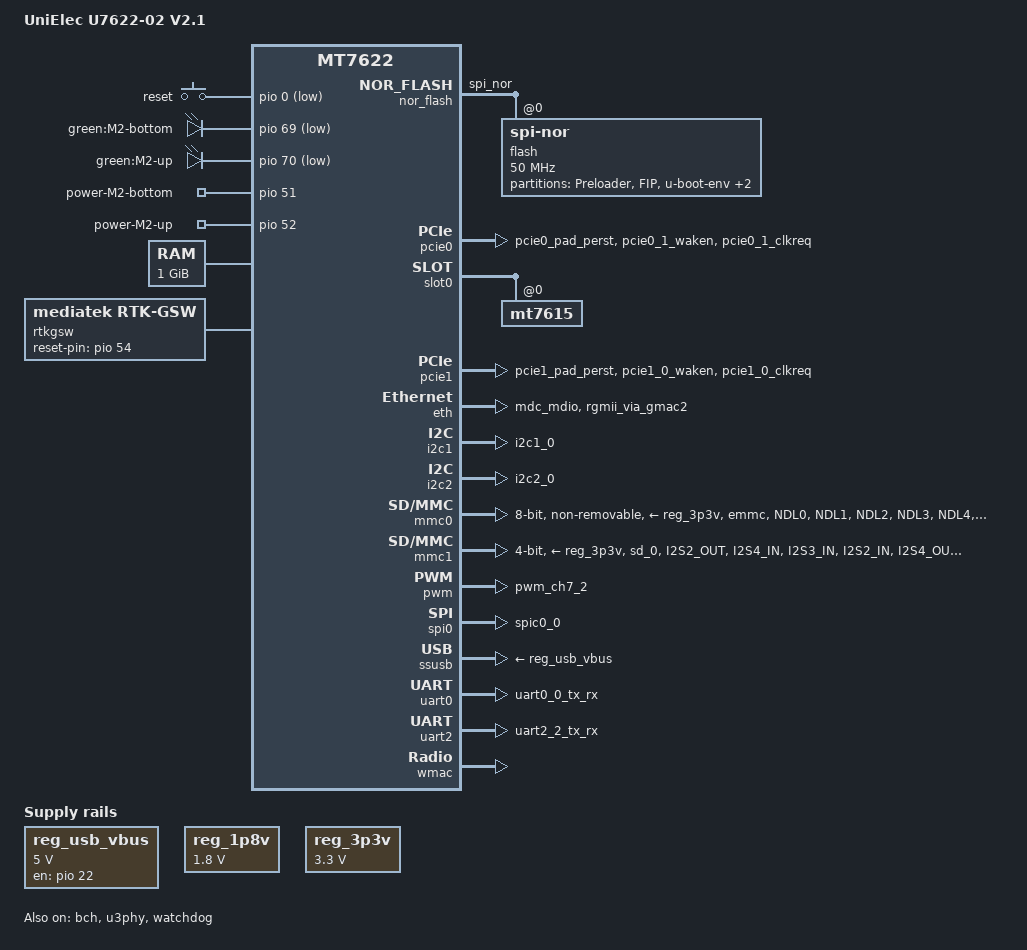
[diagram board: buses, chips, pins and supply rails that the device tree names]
// SPDX-License-Identifier: (GPL-2.0-only OR MIT)
/*
 * Copyright (c) 2017 MediaTek Inc.
 * Author: Ming Huang <ming.huang@mediatek.com>
 *	   Sean Wang <sean.wang@mediatek.com>
 */

/dts-v1/;
#include <dt-bindings/input/input.h>
#include <dt-bindings/gpio/gpio.h>

#include "mt7622.dtsi"
#include "mt6380.dtsi"


/ {
	model = "UniElec U7622-02 V2.1";
	compatible = "unielec,u7622-02", "mediatek,mt7622";

	aliases {
		serial0 = &uart0;
	};

	chosen {
		stdout-path = "serial0:115200n8";
		bootargs = "earlycon=uart8250,mmio32,0x11002000 swiotlb=512 console=ttyS0,115200n8";
	};

	cpus {
		cpu@0 {
			proc-supply = <&mt6380_vcpu_reg>;
			sram-supply = <&mt6380_vm_reg>;
		};

		cpu@1 {
			proc-supply = <&mt6380_vcpu_reg>;
			sram-supply = <&mt6380_vm_reg>;
		};
	};

	gpio-keys {
		compatible = "gpio-keys";

		reset {
			label = "reset";
			linux,code = <KEY_RESTART>;
			gpios = <&pio 0 GPIO_ACTIVE_LOW>;
		};
	};

	leds {
		compatible = "gpio-leds";

		M2-bottom {
			label = "green:M2-bottom";
			gpios = <&pio 69 GPIO_ACTIVE_LOW>;
		};

		M2-up {
			label = "green:M2-up";
			gpios = <&pio 70 GPIO_ACTIVE_LOW>;
		};
	};

	gpio-export {
		compatible = "gpio-export";
		
		power-M2-bottom {
			gpio-export,name = "power-M2-bottom";
			gpio-export,output = <0>;
			gpios = <&pio 51 GPIO_ACTIVE_HIGH>;
		};

		power-M2-up {
			gpio-export,name = "power-M2-up";
			gpio-export,output = <1>; /* always power up for PCIE1 */
			gpios = <&pio 52 GPIO_ACTIVE_HIGH>;
		};
	};

	reg_usb_vbus: regulator {
		compatible = "regulator-fixed";
		regulator-name = "usb_vbus";
		regulator-min-microvolt = <5000000>;
		regulator-max-microvolt = <5000000>;
		gpio = <&pio 22 GPIO_ACTIVE_LOW>;
		enable-active-high;
	};

	memory {
		reg = <0 0x40000000 0 0x40000000>;
	};

	reg_1p8v: regulator-1p8v {
		compatible = "regulator-fixed";
		regulator-name = "fixed-1.8V";
		regulator-min-microvolt = <1800000>;
		regulator-max-microvolt = <1800000>;
		regulator-always-on;
	};

	reg_3p3v: regulator-3p3v {
		compatible = "regulator-fixed";
		regulator-name = "fixed-3.3V";
		regulator-min-microvolt = <3300000>;
		regulator-max-microvolt = <3300000>;
		regulator-boot-on;
		regulator-always-on;
	};

	rtkgsw: rtkgsw@0 {
		compatible = "mediatek,rtk-gsw";
		mediatek,ethsys = <&ethsys>;
		mediatek,mdio = <&mdio>;
		mediatek,reset-pin = <&pio 54 0>;
		status = "okay";
	};
};

&nor_flash {
	status = "okay";

	pinctrl-names = "default";
	pinctrl-0 = <&spi_nor_pins>;

	flash@0 {
		compatible = "jedec,spi-nor";
		reg = <0>;
		spi-max-frequency = <50000000>;

		partitions {
			compatible = "fixed-partitions";
			#address-cells = <1>;
			#size-cells = <1>;

			partition@0 {
				label = "Preloader";
				reg = <0x0 0x20000>;
			};

			partition@20000 {
				label = "FIP";
				reg = <0x20000 0x90000>;
			};

			partition@B0000 {
				label = "u-boot-env";
				reg = <0xb0000 0x10000>;
			};

			factory: partition@C0000 {
				label = "Factory";
				reg = <0xc0000 0x20000>;
			};

			partition@E0000 {
				compatible = "denx,fit";
				label = "firmware";
				reg = <0xe0000 0xf20000>;
			};
		};
	};
};

&pcie0 {
	pinctrl-names = "default";
	pinctrl-0 = <&pcie0_pins>;
	status = "okay";
};

&slot0 {
	mt7615@0,0 {
		reg = <0x0000 0 0 0 0>;
		mediatek,mtd-eeprom = <&factory 0x08000>;
	};
};

/* mt7622 PCIE1 share pins with SATA.
 * U7622-02 use 4 capacitors to switch the signals between
 * the M.2 PCIE sockcet and the SATA3.0 port.
 * After moving 4 capacitors to connected to SATA3.0, set
 * uboot env variable use_sata to 1. So during kernel boot
 * setting, a uboot script will disable pcie1 and enable
 * sata in the kernel dtb.
 */
&pcie1 {
	pinctrl-names = "default";
	pinctrl-0 = <&pcie1_pins>;
	status = "okay";
};

&pio {
	/* eMMC is shared pin with parallel NAND */
	emmc_pins_default: emmc-pins-default {
		mux {
			function = "emmc", "emmc_rst";
			groups = "emmc";
		};

		/* "NDL0","NDL1","NDL2","NDL3","NDL4","NDL5","NDL6","NDL7",
		 * "NRB","NCLE" pins are used as DAT0,DAT1,DAT2,DAT3,DAT4,
		 * DAT5,DAT6,DAT7,CMD,CLK for eMMC respectively
		 */
		conf-cmd-dat {
			pins = "NDL0", "NDL1", "NDL2",
			       "NDL3", "NDL4", "NDL5",
			       "NDL6", "NDL7", "NRB";
			input-enable;
			bias-pull-up;
		};

		conf-clk {
			pins = "NCLE";
			bias-pull-down;
		};
	};

	emmc_pins_uhs: emmc-pins-uhs {
		mux {
			function = "emmc";
			groups = "emmc";
		};

		conf-cmd-dat {
			pins = "NDL0", "NDL1", "NDL2",
			       "NDL3", "NDL4", "NDL5",
			       "NDL6", "NDL7", "NRB";
			input-enable;
			drive-strength = <4>;
			bias-pull-up;
		};

		conf-clk {
			pins = "NCLE";
			drive-strength = <4>;
			bias-pull-down;
		};
	};

	eth_pins: eth-pins {
		mux {
			function = "eth";
			groups = "mdc_mdio", "rgmii_via_gmac2";
		};
	};

	wled_pins: wled-pins {
		mux {
			function = "led";
			groups = "wled";
		};
	};

	i2c1_pins: i2c1-pins {
		mux {
			function = "i2c";
			groups =  "i2c1_0";
		};
	};

	i2c2_pins: i2c2-pins {
		mux {
			function = "i2c";
			groups =  "i2c2_0";
		};
	};

	/* Parallel nand is shared pin with eMMC */
	parallel_nand_pins: parallel-nand-pins {
		mux {
			function = "flash";
			groups = "par_nand";
		};
	};

	pcie0_pins: pcie0-pins {
		mux {
			function = "pcie";
			groups = "pcie0_pad_perst",
				 "pcie0_1_waken",
				 "pcie0_1_clkreq";
		};
	};

	pcie1_pins: pcie1-pins {
		mux {
			function = "pcie";
			groups = "pcie1_pad_perst",
				 "pcie1_0_waken",
				 "pcie1_0_clkreq";
		};
	};

	pmic_bus_pins: pmic-bus-pins {
		mux {
			function = "pmic";
			groups = "pmic_bus";
		};
	};

	pwm7_pins: pwm1-2-pins {
		mux {
			function = "pwm";
			groups = "pwm_ch7_2";
		};
	};

	sd0_pins_default: sd0-pins-default {
		mux {
			function = "sd";
			groups = "sd_0";
		};

		/* "I2S2_OUT, "I2S4_IN"", "I2S3_IN", "I2S2_IN",
		 *  "I2S4_OUT", "I2S3_OUT" are used as DAT0, DAT1,
		 *  DAT2, DAT3, CMD, CLK for SD respectively.
		 */
		conf-cmd-data {
			pins = "I2S2_OUT", "I2S4_IN", "I2S3_IN",
			       "I2S2_IN","I2S4_OUT";
			input-enable;
			drive-strength = <8>;
			bias-pull-up;
		};
		conf-clk {
			pins = "I2S3_OUT";
			drive-strength = <12>;
			bias-pull-down;
		};
		conf-cd {
			pins = "TXD3";
			bias-pull-up;
		};
	};

	sd0_pins_uhs: sd0-pins-uhs {
		mux {
			function = "sd";
			groups = "sd_0";
		};

		conf-cmd-data {
			pins = "I2S2_OUT", "I2S4_IN", "I2S3_IN",
			       "I2S2_IN","I2S4_OUT";
			input-enable;
			bias-pull-up;
		};

		conf-clk {
			pins = "I2S3_OUT";
			bias-pull-down;
		};
	};

	spic0_pins: spic0-pins {
		mux {
			function = "spi";
			groups = "spic0_0";
		};
	};

	spic1_pins: spic1-pins {
		mux {
			function = "spi";
			groups = "spic1_0";
		};
	};

	/* SPI-NOR is shared pin with serial NAND */
	spi_nor_pins: spi-nor-pins {
		mux {
			function = "flash";
			groups = "spi_nor";
		};
	};

	uart0_pins: uart0-pins {
		mux {
			function = "uart";
			groups = "uart0_0_tx_rx" ;
		};
	};

	uart2_1_pins: uart2_1-pins {
		mux {
			function = "gpio";
			groups = "uart2_1_tx_rx" ;
		};
	};

	uart2_pins: uart2-pins {
		mux {
			function = "uart";
			groups = "uart2_2_tx_rx" ;
		};
	};

	watchdog_pins: watchdog-pins {
		mux {
			function = "watchdog";
			groups = "watchdog";
		};
	};
};

&btif {
	status = "disabled";
};

&eth {
	status = "okay";
	pinctrl-names = "default";
	pinctrl-0 = <&eth_pins>;
	gmac0: mac@0 {
		compatible = "mediatek,eth-mac";
		reg = <0>;
		phy-mode = "sgmii";
		fixed-link {
			speed = <1000>;
			full-duplex;
			pause;
		};
	};

	gmac1: mac@1 {
		compatible = "mediatek,eth-mac";
		reg = <1>;
		phy-mode = "rgmii";
		fixed-link {
			speed = <1000>;
			full-duplex;
			pause;
		};
	};

	mdio: mdio-bus {
		#address-cells = <1>;
		#size-cells = <0>;
	};
};

&i2c1 {
	pinctrl-names = "default";
	pinctrl-0 = <&i2c1_pins>;
	status = "okay";
};

&i2c2 {
	pinctrl-names = "default";
	pinctrl-0 = <&i2c2_pins>;
	status = "okay";
};

&mmc0 {
	pinctrl-names = "default", "state_uhs";
	pinctrl-0 = <&emmc_pins_default>;
	pinctrl-1 = <&emmc_pins_uhs>;
	status = "okay";
	bus-width = <8>;
	max-frequency = <50000000>;
	cap-mmc-highspeed;
	mmc-hs200-1_8v;
	vmmc-supply = <&reg_3p3v>;
	vqmmc-supply = <&reg_1p8v>;
	assigned-clocks = <&topckgen CLK_TOP_MSDC30_0_SEL>;
	assigned-clock-parents = <&topckgen CLK_TOP_UNIV48M>;
	non-removable;
};

&mmc1 {
	pinctrl-names = "default", "state_uhs";
	pinctrl-0 = <&sd0_pins_default>;
	pinctrl-1 = <&sd0_pins_uhs>;
	status = "okay";
	bus-width = <4>;
	max-frequency = <50000000>;
	cap-sd-highspeed;
	r_smpl = <1>;
	cd-gpios = <&pio 81 GPIO_ACTIVE_LOW>;
	vmmc-supply = <&reg_3p3v>;
	vqmmc-supply = <&reg_3p3v>;
	assigned-clocks = <&topckgen CLK_TOP_MSDC30_1_SEL>;
	assigned-clock-parents = <&topckgen CLK_TOP_UNIV48M>;
};

&pwm {
	pinctrl-names = "default";
	pinctrl-0 = <&pwm7_pins>;
	status = "okay";
};

&pwrap {
	pinctrl-names = "default";
	pinctrl-0 = <&pmic_bus_pins>;

	status = "okay";
};

&bch {
	status = "okay";
};

&spi0 {
	pinctrl-names = "default";
	pinctrl-0 = <&spic0_pins>;
	status = "okay";
};

&ssusb {
	vusb33-supply = <&reg_3p3v>;
	vbus-supply = <&reg_usb_vbus>;
	status = "okay";
};

&u3phy {
	status = "okay";
};

&uart0 {
	pinctrl-names = "default";
	pinctrl-0 = <&uart0_pins>;
	status = "okay";
};

&uart2 {
	pinctrl-names = "default";
	pinctrl-0 = <&uart2_pins>;
	status = "okay";
};

&watchdog {
	pinctrl-names = "default";
	pinctrl-0 = <&watchdog_pins>;
	status = "okay";
};

&wmac {
	status = "okay";

	mediatek,mtd-eeprom = <&factory 0x0>;
};
